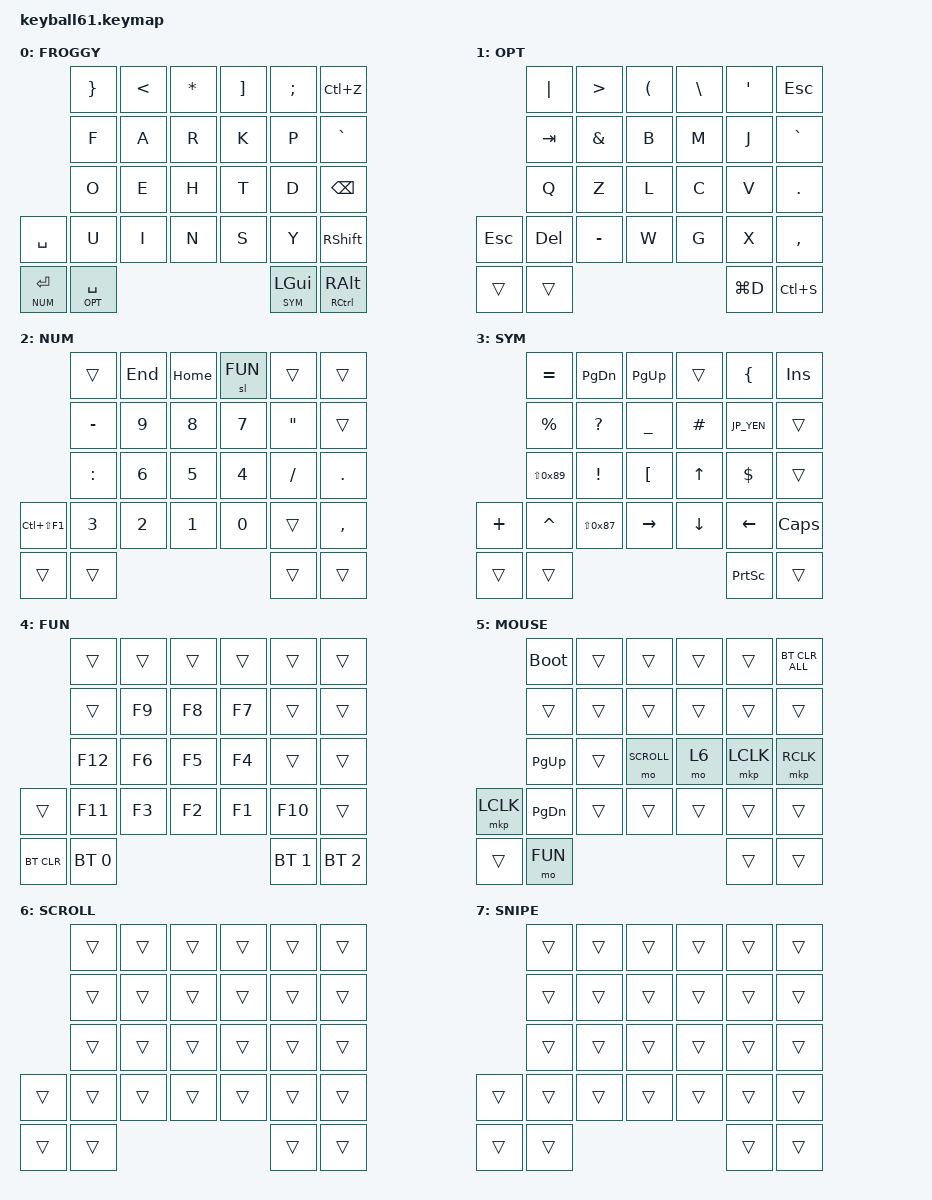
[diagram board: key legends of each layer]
#define DEFAULT 0
#define OPT     1
#define NUM     2
#define SYM     3
#define FUN     4
#define MOUSE   5
#define SCROLL  6
#define SNIPE   7

#include <behaviors/mouse_keys.dtsi>
#include <behaviors/runtime_macro.dtsi>
#include <behaviors/runtime-input-processor.dtsi>
#include <dt-bindings/zmk/mouse.h>
#include <dt-bindings/zmk/runtime_input_processor.h>
#include <dt-bindings/input/input-event-codes.h>
#include <behaviors.dtsi>
#include <dt-bindings/zmk/bt.h>
#include <dt-bindings/zmk/keys.h>
#include <dt-bindings/zmk/pointing.h>

// OS設定を日本語キーボードのまま使用するための変換定義

#define JP_DQUOTE       AT                // "
#define JP_AMPERSAND    CARET             // &
#define JP_QUOTE        AMPERSAND         // '
#define JP_EQUAL        UNDER             // =
#define JP_CARET        EQUAL             // ^
#define JP_YEN          0x89              // ¥
#define JP_PLUS         COLON             // +
#define JP_TILDE        PLUS              // ~
#define JP_PIPE         LS(0x89)          // |
#define JP_AT           LEFT_BRACKET      // @
#define JP_COLON        SINGLE_QUOTE      // :
#define JP_ASTERISK     DOUBLE_QUOTES     // *
#define JP_BACKQUOTE    LEFT_BRACE        // `
#define JP_UNDERSCORE   LS(0x87)          // _
#define JP_LBRACKET     RIGHT_BRACKET     // [
#define JP_RBRACKET     BACKSLASH         // ]
#define JP_LPAREN       ASTERISK          // (
#define JP_RPAREN       LEFT_PARENTHESIS  // )
#define JP_LBRACE       RIGHT_BRACE       // {
#define JP_RBRACE       PIPE              // }
#define JP_KANA         LANGUAGE_1        // かな
#define JP_EISU         LANGUAGE_2        // 英数
#define JP_HANZEN       GRAVE             // 半角/全角

&lt {
    tapping-term-ms = <210>;
    flavor = "balanced";
    quick-tap-ms = <150>;
};

&mt {
    tapping-term-ms = <200>;
    flavor = "tap-preferred";
    quick-tap-ms = <150>;
};

/ {
    /* OPT(Space長押し) + NUM(Enter長押し) の同時押しで SYM(グリーンカエル) へ移動 */

    conditional_layers {
        compatible = "zmk,conditional-layers";

        tri_layer {
            if-layers = <OPT NUM>;
            then-layer = <SYM>;
        };
    };

    keymap {
        compatible = "zmk,keymap";

        /* レイヤー0：遊舎工房 Froggy Base（右手ミラー配置） */

        default_layer {
            label = "FROGGY";
            bindings = <
                           &kp JP_LBRACE  &kp LESS_THAN  &kp JP_LPAREN    &kp JP_LBRACKET  &kp SEMI      &kp LC(Z)
                           &kp F          &kp A          &kp R            &kp K            &kp P         &kp JP_HANZEN
                           &kp O          &kp E          &kp H            &kp T            &kp D         &kp BSPC
            &kp SPACE      &kp U          &kp I          &kp N            &kp S            &kp Y         &kp RIGHT_SHIFT
            &lt NUM ENTER  &lt OPT SPACE                                                   &lt SYM LGUI  &mt RCTRL RIGHT_ALT
            >;
        };

        /* レイヤー1：遊舎工房 Froggy OPT（ピンクカエル：Space長押し中） */

        opt_layer {
            label = "OPT";
            bindings = <
                     &kp JP_RBRACE  &kp GREATER_THAN  &kp JP_RPAREN    &kp JP_RBRACKET  &kp JP_COLON  &kp ESC
                     &kp TAB        &kp JP_QUOTE      &kp B            &kp M            &kp J         &kp JP_HANZEN
                     &kp Q          &kp Z             &kp L            &kp C            &kp V         &kp DOT
            &kp ESC  &kp DEL        &kp MINUS         &kp W            &kp G            &kp X         &kp COMMA
            &trans   &trans                                                             &kp LG(D)     &kp LC(S)
            >;
        };

        /* レイヤー2：遊舎工房 Froggy NUM（オレンジカエル：Enter長押し中） */

        number_layer {
            label = "NUM";
            bindings = <
                            &trans       &kp END  &kp HOME    &sl FUN  &trans           &trans
                            &kp MINUS    &kp N9   &kp N8      &kp N7   &kp JP_ASTERISK  &trans
                            &kp JP_PLUS  &kp N6   &kp N5      &kp N4   &kp SLASH        &kp DOT
            &kp LC(LS(F1))  &kp N3       &kp N2   &kp N1      &kp N0   &trans           &kp COMMA
            &trans          &trans                                     &trans           &trans
            >;
        };

        /* レイヤー3：遊舎工房 Froggy SYM（グリーンカエル：右下1長押し または Space+Enter同時押し） */

        symbol_layer {
            label = "SYM";
            bindings = <
                          &kp JP_CARET      &kp PG_DN          &kp PG_UP       &trans    &kp JP_BACKQUOTE  &kp INS
                          &kp PERCENT       &kp QUESTION       &kp JP_EQUAL    &kp HASH  &kp JP_YEN        &trans
                          &kp JP_PIPE       &kp EXCLAMATION    &kp JP_AT       &kp UP    &kp DOLLAR        &trans
            &kp JP_TILDE  &kp JP_AMPERSAND  &kp JP_UNDERSCORE  &kp RIGHT       &kp DOWN  &kp LEFT          &kp CAPS
            &trans        &trans                                                         &kp PRINTSCREEN   &trans
            >;
        };

        /* レイヤー4：遊舎工房 Froggy FUNC（NUMレイヤーのFUNCキーを1回タップ後に有効） */

        function_layer {
            label = "FUN";
            bindings = <
                        &trans        &trans  &trans    &trans  &trans        &trans
                        &trans        &kp F9  &kp F8    &kp F7  &trans        &trans
                        &kp F12       &kp F6  &kp F5    &kp F4  &trans        &trans
            &trans      &kp F11       &kp F3  &kp F2    &kp F1  &kp F10       &trans
            &bt BT_CLR  &bt BT_SEL 0                            &bt BT_SEL 1  &bt BT_SEL 2
            >;
        };

        /* レイヤー5：オートマウス（ボール操作で自動有効） */

        mouse_layer {
            label = "MOUSE";
            bindings = <
                       &bootloader    &trans  &trans        &trans  &trans     &bt BT_CLR_ALL
                       &trans         &trans  &trans        &trans  &trans     &trans
                       &kp PAGE_UP    &trans  &mo SCROLL    &mo 6   &mkp LCLK  &mkp RCLK
            &mkp LCLK  &kp PAGE_DOWN  &trans  &trans        &trans  &trans     &trans
            &trans     &mo FUN                                      &trans     &trans
            >;
        };

        /* レイヤー6：スクロール（マウスレイヤー中にH位置を長押し） */

        scroll_layer {
            label = "SCROLL";
            bindings = <
                    &trans  &trans  &trans    &trans  &trans  &trans
                    &trans  &trans  &trans    &trans  &trans  &trans
                    &trans  &trans  &trans    &trans  &trans  &trans
            &trans  &trans  &trans  &trans    &trans  &trans  &trans
            &trans  &trans                            &trans  &trans
            >;
        };

        /* レイヤー7：スナイプ */

        snipe_layer {
            label = "SNIPE";
            bindings = <
                    &trans  &trans  &trans    &trans  &trans  &trans
                    &trans  &trans  &trans    &trans  &trans  &trans
                    &trans  &trans  &trans    &trans  &trans  &trans
            &trans  &trans  &trans  &trans    &trans  &trans  &trans
            &trans  &trans                            &trans  &trans
            >;
        };
    };
};

/* レイヤー番号を 5 (MOUSE) / 6 (SCROLL) に合わせて更新 */

&mouse_runtime_input_processor {
    temp-layer-enabled;
    temp-layer = <5>;
    temp-layer-activation-delay-ms = <200>;
    temp-layer-deactivation-delay-ms = <400>;
};

&scroll_runtime_input_processor {
    active-layers = <BIT(6)>;
    x-codes = <INPUT_REL_X>;
    y-codes = <INPUT_REL_Y>;
    xy-to-scroll-enabled;
    axis-snap-threshold = <100>;
};

&trackball { cpi = <800>; };
